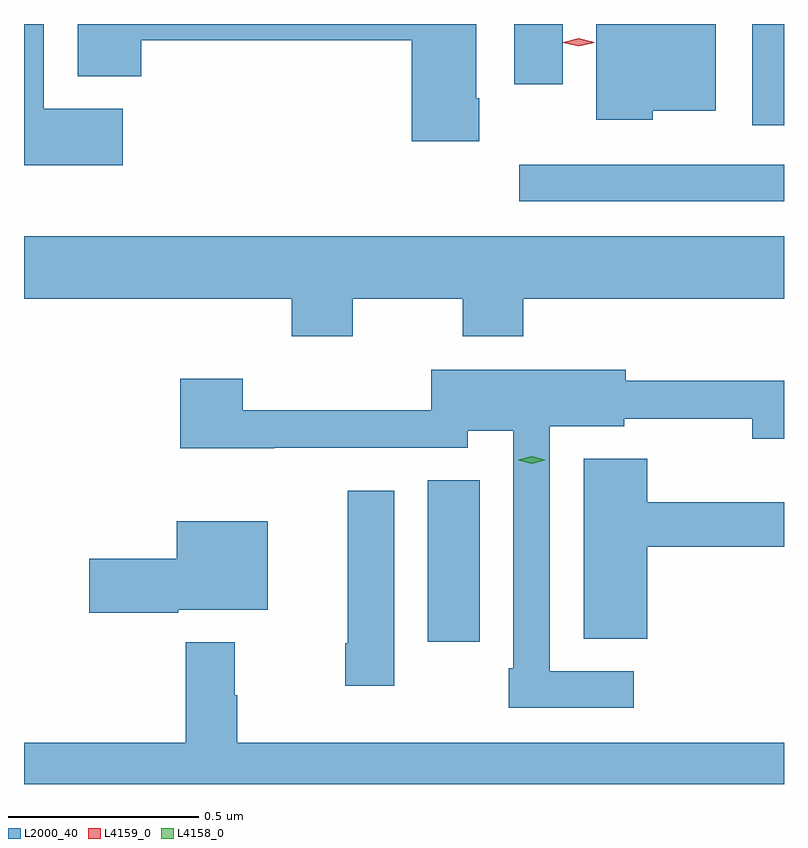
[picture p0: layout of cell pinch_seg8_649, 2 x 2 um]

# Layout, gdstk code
import gdstk
lib = gdstk.Library(unit=1e-6, precision=1e-09)
def R(c, l, rs):  # rectangles x0, y0, x1, y1
    for r in rs: c.add(gdstk.rectangle(r[:2], r[2:], *l))
def P(c, l, *ps):  # polygons
    for p in ps: c.add(gdstk.Polygon(p, *l))
L2000_40 = (2000, 40)
L4158_0 = (4158, 0)
L4159_0 = (4159, 0)

pinch_seg8_649 = lib.new_cell('pinch_seg8_649')
R(pinch_seg8_649, L2000_40, [(211.304,1100.946,211.441,1101.371), (211.545,1102.104,212.242,1102.2), (212.159,1102.305,212.242,1102.571), (211.532,1102.413,211.66,1102.571)])
P(pinch_seg8_649, L2000_40, [(210.502,1102.348),(210.294,1102.348),(210.294,1102.571),(210.242,1102.571),(210.242,1102.199),(210.502,1102.199)],
  [(211.44,1102.375),(211.432,1102.375),(211.432,1102.571),(210.383,1102.571),(210.383,1102.433),(210.55,1102.433),(210.55,1102.528),(211.262,1102.528),(211.262,1102.263),(211.44,1102.263)],
  [(211.896,1102.343),(212.062,1102.343),(212.062,1102.571),(211.748,1102.571),(211.748,1102.319),(211.896,1102.319)],
  [(211.107,1101.848),(211.396,1101.848),(211.396,1101.749),(211.556,1101.749),(211.556,1101.848),(212.242,1101.848),(212.242,1102.012),(210.242,1102.012),(210.242,1101.848),(210.947,1101.848),(210.947,1101.749),(211.107,1101.749)],
  [(211.846,1100.868),(211.626,1100.868),(211.626,1101.512),(211.821,1101.512),(211.821,1101.532),(212.159,1101.532),(212.159,1101.479),(212.242,1101.479),(212.242,1101.632),(211.825,1101.632),(211.825,1101.661),(211.314,1101.661),(211.314,1101.554),(210.818,1101.554),(210.818,1101.637),(210.653,1101.637),(210.653,1101.455),(210.901,1101.455),(210.901,1101.456),(211.41,1101.456),(211.41,1101.5),(211.53,1101.5),(211.53,1100.875),(211.518,1100.875),(211.518,1100.772),(211.846,1100.772)],
  [(211.882,1101.196),(212.242,1101.196),(212.242,1101.313),(211.882,1101.313),(211.882,1101.427),(211.715,1101.427),(211.715,1100.953),(211.882,1100.953)],
  [(211.216,1101.343),(211.094,1101.343),(211.094,1100.941),(211.087,1100.941),(211.087,1100.829),(211.216,1100.829)],
  [(210.648,1101.029),(210.883,1101.029),(210.883,1101.262),(210.644,1101.262),(210.644,1101.164),(210.414,1101.164),(210.414,1101.022),(210.648,1101.022)],
  [(212.242,1100.68),(210.803,1100.68),(210.803,1100.804),(210.796,1100.804),(210.796,1100.944),(210.668,1100.944),(210.668,1100.68),(210.242,1100.68),(210.242,1100.571),(212.242,1100.571)])
P(pinch_seg8_649, L4158_0, [(211.578,1101.414),(211.543,1101.423),(211.543,1101.424),(211.543,1101.424),(211.578,1101.434),(211.612,1101.424),(211.612,1101.424),(211.612,1101.423)])
P(pinch_seg8_649, L4159_0, [(211.702,1102.513),(211.661,1102.522),(211.66,1102.523),(211.661,1102.523),(211.702,1102.533),(211.743,1102.523),(211.743,1102.523),(211.743,1102.522)])

lib.write_gds('pinch_seg8_649.gds')
